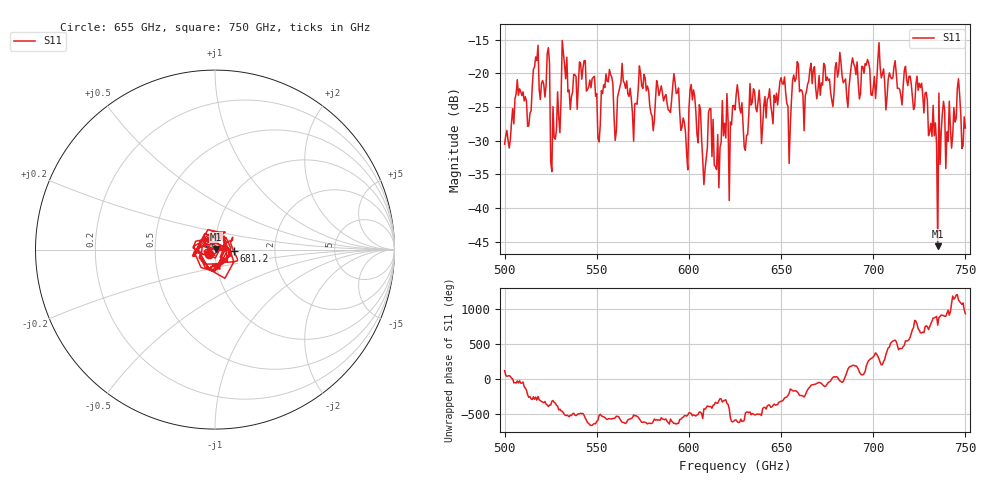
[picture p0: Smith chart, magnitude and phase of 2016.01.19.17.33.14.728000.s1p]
!Created with skrf (http://scikit-rf.org).
# GHz S RI R 50.0
!freq ReS11 ImS11
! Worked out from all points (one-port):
!   401 points, 500 GHz to 750 GHz, reference 50 ohm
!   lowest |S11| = -45.7 dB at 735 GHz (marker M1), VSWR 1.01, Z = 50.3 + j0.418 ohm
!   |S11| at or under -10 dB: start of sweep to end of sweep
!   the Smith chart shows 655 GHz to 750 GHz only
!   S11 on the Smith chart (normalised r, x): 655 GHz: 0.94, -0.05; 681.2 GHz: 1.23, -0.01; 750 GHz: 0.94, -0.04
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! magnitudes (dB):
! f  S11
! 500 GHz  -30.5
! 507.5 GHz  -23.2
! 513.8 GHz  -25.9
! 516.9 GHz  -17.6
! 523.1 GHz  -17.1
! 526.2 GHz  -24.9
! 531.2 GHz  -15.1
! 542.5 GHz  -19.2
! 550.6 GHz  -29.6
! 562.5 GHz  -22.1
! 593.8 GHz  -22.9
! 598.1 GHz  -28.7
! 601.9 GHz  -23.9
! 608.8 GHz  -34.3
! 611.9 GHz  -25.2
! 615 GHz  -34.3
! 625 GHz  -25.4
! 630.6 GHz  -31.4
! 634.4 GHz  -24.3
! 650.6 GHz  -21.6
! 655 GHz  -27.8
! 656.2 GHz  -21.0
! 681.2 GHz  -19.7
! 687.5 GHz  -20.2
! 718.8 GHz  -21.8
! 735 GHz  -45.7
! 746.2 GHz  -20.8
! 750 GHz  -28.1
